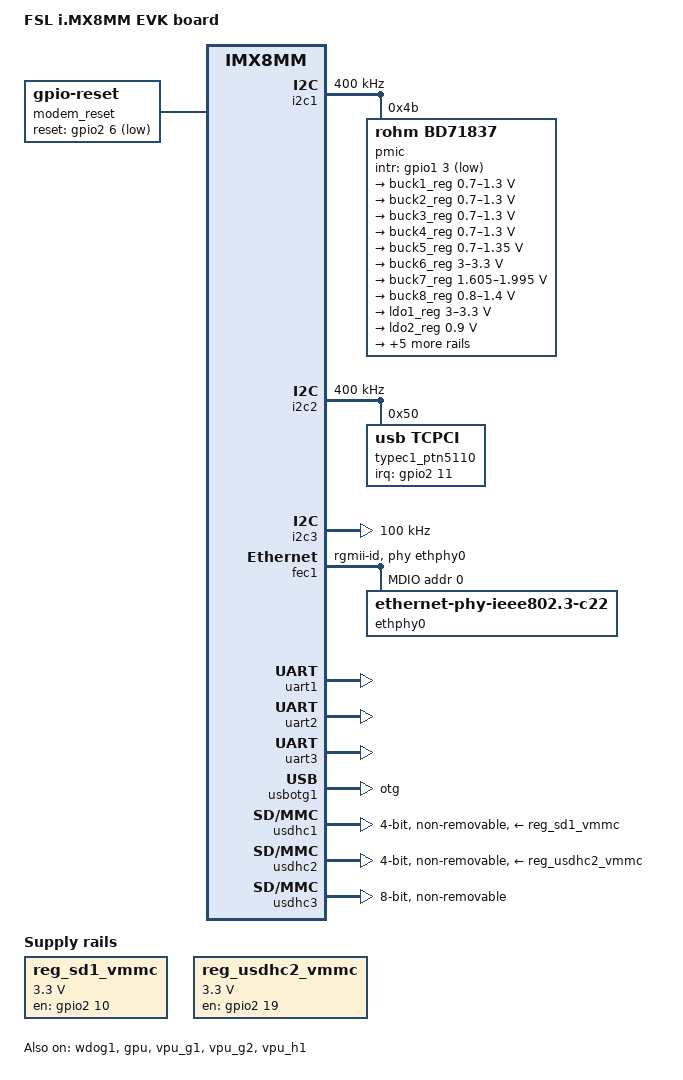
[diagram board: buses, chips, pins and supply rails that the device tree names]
/*
 * Copyright 2018 NXP
 *
 * This program is free software; you can redistribute it and/or
 * modify it under the terms of the GNU General Public License
 * as published by the Free Software Foundation; either version 2
 * of the License, or (at your option) any later version.
 *
 * This program is distributed in the hope that it will be useful,
 * but WITHOUT ANY WARRANTY; without even the implied warranty of
 * MERCHANTABILITY or FITNESS FOR A PARTICULAR PURPOSE.  See the
 * GNU General Public License for more details.
 */

/dts-v1/;

#include "fsl-imx8mm.dtsi"

/ {
	model = "FSL i.MX8MM EVK board";
	compatible = "fsl,imx8mm-evk", "fsl,imx8mm";

	chosen {
		bootargs = "console=ttymxc1,115200 earlycon=ec_imx6q,0x30890000,115200";
		stdout-patch = &uart2;
	};

	modem_reset: modem-reset {
		compatible = "gpio-reset";
		reset-gpios = <&gpio2 6 GPIO_ACTIVE_LOW>;
		reset-delay-us = <2000>;
		reset-post-delay-ms = <40>;
		#reset-cells = <0>;
	};

	regulators {
		compatible = "simple-bus";
		#address-cells = <1>;
		#size-cells = <0>;

		reg_sd1_vmmc: sd1_regulator {
			compatible = "regulator-fixed";
			regulator-name = "WLAN_EN";
			regulator-min-microvolt = <3300000>;
			regulator-max-microvolt = <3300000>;
			gpio = <&gpio2 10 GPIO_ACTIVE_HIGH>;
			off-on-delay = <20000>;
			startup-delay-us = <100>;
			enable-active-high;
		};

		reg_usdhc2_vmmc: regulator-usdhc2 {
			compatible = "regulator-fixed";
			regulator-name = "VSD_3V3";
			regulator-min-microvolt = <3300000>;
			regulator-max-microvolt = <3300000>;
			gpio = <&gpio2 19 GPIO_ACTIVE_HIGH>;
			enable-active-high;
		};
	};
};

&iomuxc {
	pinctrl-names = "default";

	imx8mm-evk {
		pinctrl_fec1: fec1grp {
			fsl,pins = <
				MX8MM_IOMUXC_ENET_MDC_ENET1_MDC		0x3
				MX8MM_IOMUXC_ENET_MDIO_ENET1_MDIO	0x3
				MX8MM_IOMUXC_ENET_TD3_ENET1_RGMII_TD3	0x1f
				MX8MM_IOMUXC_ENET_TD2_ENET1_RGMII_TD2	0x1f
				MX8MM_IOMUXC_ENET_TD1_ENET1_RGMII_TD1	0x1f
				MX8MM_IOMUXC_ENET_TD0_ENET1_RGMII_TD0	0x1f
				MX8MM_IOMUXC_ENET_RD3_ENET1_RGMII_RD3	0x91
				MX8MM_IOMUXC_ENET_RD2_ENET1_RGMII_RD2	0x91
				MX8MM_IOMUXC_ENET_RD1_ENET1_RGMII_RD1	0x91
				MX8MM_IOMUXC_ENET_RD0_ENET1_RGMII_RD0	0x91
				MX8MM_IOMUXC_ENET_TXC_ENET1_RGMII_TXC	0x1f
				MX8MM_IOMUXC_ENET_RXC_ENET1_RGMII_RXC	0x91
				MX8MM_IOMUXC_ENET_RX_CTL_ENET1_RGMII_RX_CTL	0x91
				MX8MM_IOMUXC_ENET_TX_CTL_ENET1_RGMII_TX_CTL	0x1f
				MX8MM_IOMUXC_SAI2_RXC_GPIO4_IO22	0x19
			>;
		};

		pinctrl_i2c1: i2c1grp {
			fsl,pins = <
				MX8MM_IOMUXC_I2C1_SCL_I2C1_SCL			0x400001c3
				MX8MM_IOMUXC_I2C1_SDA_I2C1_SDA			0x400001c3
			>;
		};

		pinctrl_i2c2: i2c2grp {
			fsl,pins = <
				MX8MM_IOMUXC_I2C2_SCL_I2C2_SCL			0x400001c3
				MX8MM_IOMUXC_I2C2_SDA_I2C2_SDA			0x400001c3
			>;
		};

		pinctrl_i2c3: i2c3grp {
			fsl,pins = <
				MX8MM_IOMUXC_I2C3_SCL_I2C3_SCL			0x400001c3
				MX8MM_IOMUXC_I2C3_SDA_I2C3_SDA			0x400001c3
			>;
		};

		pinctrl_pmic: pmicirq {
			fsl,pins = <
				MX8MM_IOMUXC_GPIO1_IO03_GPIO1_IO3		0x41
			>;
		};

		pinctrl_typec1: typec1grp {
			fsl,pins = <
				MX8MM_IOMUXC_SD1_STROBE_GPIO2_IO11	0x159
			>;
		};

		pinctrl_typec2: typec2grp {
			fsl,pins = <
				MX8MM_IOMUXC_SD2_CD_B_GPIO2_IO12	0x159
			>;
		};

		pinctrl_uart1: uart1grp {
			fsl,pins = <
				MX8MM_IOMUXC_UART1_RXD_UART1_DCE_RX	0x140
				MX8MM_IOMUXC_UART1_TXD_UART1_DCE_TX	0x140
				MX8MM_IOMUXC_UART3_RXD_UART1_DCE_CTS_B	0x140
				MX8MM_IOMUXC_UART3_TXD_UART1_DCE_RTS_B	0x140
				MX8MM_IOMUXC_SD1_DATA4_GPIO2_IO6	0x19
			>;
		};

		pinctrl_uart2: uart2grp {
			fsl,pins = <
				MX8MM_IOMUXC_UART2_RXD_UART2_DCE_RX	0x140
				MX8MM_IOMUXC_UART2_TXD_UART2_DCE_TX	0x140
			>;
		};

		pinctrl_uart3: uart3grp {
			fsl,pins = <
				MX8MM_IOMUXC_ECSPI1_SCLK_UART3_DCE_RX		0x140
				MX8MM_IOMUXC_ECSPI1_MOSI_UART3_DCE_TX		0x140
				MX8MM_IOMUXC_ECSPI1_SS0_UART3_DCE_RTS_B		0x140
				MX8MM_IOMUXC_ECSPI1_MISO_UART3_DCE_CTS_B	0x140
			>;
		};

		pinctrl_usdhc1_gpio: usdhc1grpgpio {
			fsl,pins = <
				MX8MM_IOMUXC_SD1_RESET_B_GPIO2_IO10	0x41
			>;
		};

		pinctrl_usdhc1: usdhc1grp {
			fsl,pins = <
				MX8MM_IOMUXC_SD1_CLK_USDHC1_CLK		0x190
				MX8MM_IOMUXC_SD1_CMD_USDHC1_CMD		0x1d0
				MX8MM_IOMUXC_SD1_DATA0_USDHC1_DATA0	0x1d0
				MX8MM_IOMUXC_SD1_DATA1_USDHC1_DATA1	0x1d0
				MX8MM_IOMUXC_SD1_DATA2_USDHC1_DATA2	0x1d0
				MX8MM_IOMUXC_SD1_DATA3_USDHC1_DATA3	0x1d0
			>;
		};

		pinctrl_usdhc1_100mhz: usdhc1grp100mhz {
			fsl,pins = <
				MX8MM_IOMUXC_SD1_CLK_USDHC1_CLK		0x194
				MX8MM_IOMUXC_SD1_CMD_USDHC1_CMD		0x1d4
				MX8MM_IOMUXC_SD1_DATA0_USDHC1_DATA0	0x1d4
				MX8MM_IOMUXC_SD1_DATA1_USDHC1_DATA1	0x1d4
				MX8MM_IOMUXC_SD1_DATA2_USDHC1_DATA2	0x1d4
				MX8MM_IOMUXC_SD1_DATA3_USDHC1_DATA3	0x1d4
			>;
		};

		pinctrl_usdhc1_200mhz: usdhc1grp200mhz {
			fsl,pins = <
				MX8MM_IOMUXC_SD1_CLK_USDHC1_CLK		0x196
				MX8MM_IOMUXC_SD1_CMD_USDHC1_CMD		0x1d6
				MX8MM_IOMUXC_SD1_DATA0_USDHC1_DATA0	0x1d6
				MX8MM_IOMUXC_SD1_DATA1_USDHC1_DATA1	0x1d6
				MX8MM_IOMUXC_SD1_DATA2_USDHC1_DATA2	0x1d6
				MX8MM_IOMUXC_SD1_DATA3_USDHC1_DATA3	0x1d6
			>;
		};

		pinctrl_usdhc2_gpio: usdhc2grpgpio {
			fsl,pins = <
				MX8MM_IOMUXC_SD2_RESET_B_GPIO2_IO19	0x41
			>;
		};

		pinctrl_usdhc2: usdhc2grp {
			fsl,pins = <
				MX8MM_IOMUXC_SD2_CLK_USDHC2_CLK		0x190
				MX8MM_IOMUXC_SD2_CMD_USDHC2_CMD		0x1d0
				MX8MM_IOMUXC_SD2_DATA0_USDHC2_DATA0	0x1d0
				MX8MM_IOMUXC_SD2_DATA1_USDHC2_DATA1	0x1d0
				MX8MM_IOMUXC_SD2_DATA2_USDHC2_DATA2	0x1d0
				MX8MM_IOMUXC_SD2_DATA3_USDHC2_DATA3	0x1d0
				MX8MM_IOMUXC_GPIO1_IO04_USDHC2_VSELECT	0x1d0
			>;
		};

		pinctrl_usdhc2_100mhz: usdhc2grp100mhz {
			fsl,pins = <
				MX8MM_IOMUXC_SD2_CLK_USDHC2_CLK		0x194
				MX8MM_IOMUXC_SD2_CMD_USDHC2_CMD		0x1d4
				MX8MM_IOMUXC_SD2_DATA0_USDHC2_DATA0	0x1d4
				MX8MM_IOMUXC_SD2_DATA1_USDHC2_DATA1	0x1d4
				MX8MM_IOMUXC_SD2_DATA2_USDHC2_DATA2	0x1d4
				MX8MM_IOMUXC_SD2_DATA3_USDHC2_DATA3	0x1d4
				MX8MM_IOMUXC_GPIO1_IO04_USDHC2_VSELECT	0x1d0
			>;
		};

		pinctrl_usdhc2_200mhz: usdhc2grp200mhz {
			fsl,pins = <
				MX8MM_IOMUXC_SD2_CLK_USDHC2_CLK		0x196
				MX8MM_IOMUXC_SD2_CMD_USDHC2_CMD		0x1d6
				MX8MM_IOMUXC_SD2_DATA0_USDHC2_DATA0	0x1d6
				MX8MM_IOMUXC_SD2_DATA1_USDHC2_DATA1	0x1d6
				MX8MM_IOMUXC_SD2_DATA2_USDHC2_DATA2	0x1d6
				MX8MM_IOMUXC_SD2_DATA3_USDHC2_DATA3	0x1d6
				MX8MM_IOMUXC_GPIO1_IO04_USDHC2_VSELECT	0x1d0
			>;
		};

		pinctrl_usdhc3: usdhc3grp {
			fsl,pins = <
				MX8MM_IOMUXC_NAND_WE_B_USDHC3_CLK		0x190
				MX8MM_IOMUXC_NAND_WP_B_USDHC3_CMD		0x1d0
				MX8MM_IOMUXC_NAND_DATA04_USDHC3_DATA0		0x1d0
				MX8MM_IOMUXC_NAND_DATA05_USDHC3_DATA1		0x1d0
				MX8MM_IOMUXC_NAND_DATA06_USDHC3_DATA2		0x1d0
				MX8MM_IOMUXC_NAND_DATA07_USDHC3_DATA3		0x1d0
				MX8MM_IOMUXC_NAND_RE_B_USDHC3_DATA4		0x1d0
				MX8MM_IOMUXC_NAND_CE2_B_USDHC3_DATA5		0x1d0
				MX8MM_IOMUXC_NAND_CE3_B_USDHC3_DATA6		0x1d0
				MX8MM_IOMUXC_NAND_CLE_USDHC3_DATA7		0x1d0
				MX8MM_IOMUXC_NAND_CE1_B_USDHC3_STROBE 		0x190
			>;
		};

		pinctrl_usdhc3_100mhz: usdhc3grp100mhz {
			fsl,pins = <
				MX8MM_IOMUXC_NAND_WE_B_USDHC3_CLK		0x194
				MX8MM_IOMUXC_NAND_WP_B_USDHC3_CMD		0x1d4
				MX8MM_IOMUXC_NAND_DATA04_USDHC3_DATA0		0x1d4
				MX8MM_IOMUXC_NAND_DATA05_USDHC3_DATA1		0x1d4
				MX8MM_IOMUXC_NAND_DATA06_USDHC3_DATA2		0x1d4
				MX8MM_IOMUXC_NAND_DATA07_USDHC3_DATA3		0x1d4
				MX8MM_IOMUXC_NAND_RE_B_USDHC3_DATA4		0x1d4
				MX8MM_IOMUXC_NAND_CE2_B_USDHC3_DATA5		0x1d4
				MX8MM_IOMUXC_NAND_CE3_B_USDHC3_DATA6		0x1d4
				MX8MM_IOMUXC_NAND_CLE_USDHC3_DATA7		0x1d4
				MX8MM_IOMUXC_NAND_CE1_B_USDHC3_STROBE 		0x194
			>;
		};

		pinctrl_usdhc3_200mhz: usdhc3grp200mhz {
			fsl,pins = <
				MX8MM_IOMUXC_NAND_WE_B_USDHC3_CLK		0x196
				MX8MM_IOMUXC_NAND_WP_B_USDHC3_CMD		0x1d6
				MX8MM_IOMUXC_NAND_DATA04_USDHC3_DATA0		0x1d6
				MX8MM_IOMUXC_NAND_DATA05_USDHC3_DATA1		0x1d6
				MX8MM_IOMUXC_NAND_DATA06_USDHC3_DATA2		0x1d6
				MX8MM_IOMUXC_NAND_DATA07_USDHC3_DATA3		0x1d6
				MX8MM_IOMUXC_NAND_RE_B_USDHC3_DATA4		0x1d6
				MX8MM_IOMUXC_NAND_CE2_B_USDHC3_DATA5		0x1d6
				MX8MM_IOMUXC_NAND_CE3_B_USDHC3_DATA6		0x1d6
				MX8MM_IOMUXC_NAND_CLE_USDHC3_DATA7		0x1d6
				MX8MM_IOMUXC_NAND_CE1_B_USDHC3_STROBE 		0x196
			>;
		};

		pinctrl_wdog: wdoggrp {
			fsl,pins = <
				MX8MM_IOMUXC_GPIO1_IO02_WDOG1_WDOG_B		0xc6
			>;
		};
	};
};

&i2c1 {
	clock-frequency = <400000>;
	pinctrl-names = "default";
	pinctrl-0 = <&pinctrl_i2c1>;
	status = "okay";

	pmic: bd71837@4b {
		reg = <0x4b>;
		compatible = "rohm,bd71837";
		/* PMIC BD71837 PMIC_nINT GPIO1_IO3 */
		pinctrl-0 = <&pinctrl_pmic>;
		gpio_intr = <&gpio1 3 GPIO_ACTIVE_LOW>;

		gpo {
			rohm,drv = <0x0C>;	/* 0b0000_1100 all gpos with cmos output mode */
		};

		regulators {
			#address-cells = <1>;
			#size-cells = <0>;

			bd71837,pmic-buck2-uses-i2c-dvs;
			bd71837,pmic-buck2-dvs-voltage = <1000000>, <900000>, <0>; /* VDD_ARM: Run-Idle */

			buck1_reg: regulator@0 {
				reg = <0>;
				regulator-compatible = "buck1";
				regulator-min-microvolt = <700000>;
				regulator-max-microvolt = <1300000>;
				regulator-boot-on;
				regulator-always-on;
				regulator-ramp-delay = <1250>;
			};

			buck2_reg: regulator@1 {
				reg = <1>;
				regulator-compatible = "buck2";
				regulator-min-microvolt = <700000>;
				regulator-max-microvolt = <1300000>;
				regulator-boot-on;
				regulator-always-on;
				regulator-ramp-delay = <1250>;
			};

			buck3_reg: regulator@2 {
				reg = <2>;
				regulator-compatible = "buck3";
				regulator-min-microvolt = <700000>;
				regulator-max-microvolt = <1300000>;
			};

			buck4_reg: regulator@3 {
				reg = <3>;
				regulator-compatible = "buck4";
				regulator-min-microvolt = <700000>;
				regulator-max-microvolt = <1300000>;
			};

			buck5_reg: regulator@4 {
				reg = <4>;
				regulator-compatible = "buck5";
				regulator-min-microvolt = <700000>;
				regulator-max-microvolt = <1350000>;
				regulator-boot-on;
				regulator-always-on;
			};

			buck6_reg: regulator@5 {
				reg = <5>;
				regulator-compatible = "buck6";
				regulator-min-microvolt = <3000000>;
				regulator-max-microvolt = <3300000>;
				regulator-boot-on;
				regulator-always-on;
			};

			buck7_reg: regulator@6 {
				reg = <6>;
				regulator-compatible = "buck7";
				regulator-min-microvolt = <1605000>;
				regulator-max-microvolt = <1995000>;
				regulator-boot-on;
				regulator-always-on;
			};

			buck8_reg: regulator@7 {
				reg = <7>;
				regulator-compatible = "buck8";
				regulator-min-microvolt = <800000>;
				regulator-max-microvolt = <1400000>;
				regulator-boot-on;
				regulator-always-on;
			};

			ldo1_reg: regulator@8 {
				reg = <8>;
				regulator-compatible = "ldo1";
				regulator-min-microvolt = <3000000>;
				regulator-max-microvolt = <3300000>;
				regulator-boot-on;
				regulator-always-on;
			};

			ldo2_reg: regulator@9 {
				reg = <9>;
				regulator-compatible = "ldo2";
				regulator-min-microvolt = <900000>;
				regulator-max-microvolt = <900000>;
				regulator-boot-on;
				regulator-always-on;
			};

			ldo3_reg: regulator@10 {
				reg = <10>;
				regulator-compatible = "ldo3";
				regulator-min-microvolt = <1800000>;
				regulator-max-microvolt = <3300000>;
				regulator-boot-on;
				regulator-always-on;
			};

			ldo4_reg: regulator@11 {
				reg = <11>;
				regulator-compatible = "ldo4";
				regulator-min-microvolt = <900000>;
				regulator-max-microvolt = <1800000>;
				regulator-boot-on;
				regulator-always-on;
			};

			ldo5_reg: regulator@12 {
				reg = <12>;
				regulator-compatible = "ldo5";
				regulator-min-microvolt = <1800000>;
				regulator-max-microvolt = <3300000>;
			};

			ldo6_reg: regulator@13 {
				reg = <13>;
				regulator-compatible = "ldo6";
				regulator-min-microvolt = <900000>;
				regulator-max-microvolt = <1800000>;
				regulator-boot-on;
				regulator-always-on;
			};

			ldo7_reg: regulator@14 {
				reg = <14>;
				regulator-compatible = "ldo7";
				regulator-min-microvolt = <1800000>;
				regulator-max-microvolt = <3300000>;
			};
		};
	};
};

&i2c2 {
	clock-frequency = <400000>;
	pinctrl-names = "default";
	pinctrl-0 = <&pinctrl_i2c2>;
	status = "okay";

	typec1_ptn5110: tcpci@50 {
		compatible = "usb,tcpci";
		pinctrl-names = "default";
		pinctrl-0 = <&pinctrl_typec1>;
		reg = <0x50>;
		interrupt-parent = <&gpio2>;
		interrupts = <11 8>;
		src-pdos = <0x380190c8>;
		snk-pdos = <0x380190c8>;
		/* Only can sink 5V for safe */
		max-snk-mv = <5000>;
		max-snk-ma = <3000>;
		op-snk-mw = <10000>;
		max-snk-mw = <15000>;
		port-type = "drp";
		default-role = "sink";
		status = "okay";
	};

	typec2_ptn5110: tcpci@52 {
		compatible = "usb,tcpci";
		pinctrl-names = "default";
		pinctrl-0 = <&pinctrl_typec2>;
		reg = <0x52>;
		interrupt-parent = <&gpio2>;
		interrupts = <12 8>;
		src-pdos = <0x380190c8>;
		snk-pdos = <0x380190c8>;
		/* Only can sink 5V for safe */
		max-snk-mv = <5000>;
		max-snk-ma = <3000>;
		op-snk-mw = <10000>;
		max-snk-mw = <15000>;
		port-type = "drp";
		default-role = "sink";
		status = "disabled";
	};
};

&i2c3 {
	clock-frequency = <100000>;
	pinctrl-names = "default";
	pinctrl-0 = <&pinctrl_i2c3>;
	status = "okay";
};

&fec1 {
	pinctrl-names = "default";
	pinctrl-0 = <&pinctrl_fec1>;
	phy-mode = "rgmii-id";
	phy-handle = <&ethphy0>;
	fsl,magic-packet;
	status = "okay";

	mdio {
		#address-cells = <1>;
		#size-cells = <0>;

		ethphy0: ethernet-phy@0 {
			compatible = "ethernet-phy-ieee802.3-c22";
			reg = <0>;
			at803x,led-act-blind-workaround;
			at803x,eee-okay;
			at803x,vddio-1p8v;
		};
	};
};

&uart1 { /* BT */
	pinctrl-names = "default";
	pinctrl-0 = <&pinctrl_uart1>;
	assigned-clocks = <&clk IMX8MM_CLK_UART1_SRC>;
	assigned-clock-parents = <&clk IMX8MM_SYS_PLL1_80M>;
	fsl,uart-has-rtscts;
	resets = <&modem_reset>;
	status = "okay";
};

&uart2 { /* console */
	pinctrl-names = "default";
	pinctrl-0 = <&pinctrl_uart2>;
	status = "okay";
};

&uart3 {
	pinctrl-names = "default";
	pinctrl-0 = <&pinctrl_uart3>;
	assigned-clocks = <&clk IMX8MM_CLK_UART3_SRC>;
	assigned-clock-parents = <&clk IMX8MM_SYS_PLL1_80M>;
	fsl,uart-has-rtscts;
	status = "okay";
};

&usbotg1 {
	dr_mode = "otg";
	extcon = <0>, <&typec1_ptn5110>;
	status = "okay";
};

&usbotg2 {
	dr_mode = "otg";
	extcon = <0>, <&typec2_ptn5110>;
	status = "disabled";
};

&usdhc1 {
	pinctrl-names = "default", "state_100mhz", "state_200mhz";
	pinctrl-0 = <&pinctrl_usdhc1>, <&pinctrl_usdhc1_gpio>;
	pinctrl-1 = <&pinctrl_usdhc1_100mhz>, <&pinctrl_usdhc1_gpio>;
	pinctrl-2 = <&pinctrl_usdhc1_200mhz>, <&pinctrl_usdhc1_gpio>;
	bus-width = <4>;
	vmmc-supply = <&reg_sd1_vmmc>;
	pm-ignore-notify;
	keep-power-in-suspend;
	non-removable;
	status = "okay";
};

&usdhc2 {
	pinctrl-names = "default", "state_100mhz", "state_200mhz";
	pinctrl-0 = <&pinctrl_usdhc2>, <&pinctrl_usdhc2_gpio>;
	pinctrl-1 = <&pinctrl_usdhc2_100mhz>, <&pinctrl_usdhc2_gpio>;
	pinctrl-2 = <&pinctrl_usdhc2_200mhz>, <&pinctrl_usdhc2_gpio>;
	bus-width = <4>;
	non-removable;
	vmmc-supply = <&reg_usdhc2_vmmc>;
	status = "okay";
};

&usdhc3 {
	pinctrl-names = "default", "state_100mhz", "state_200mhz";
	pinctrl-0 = <&pinctrl_usdhc3>;
	pinctrl-1 = <&pinctrl_usdhc3_100mhz>;
	pinctrl-2 = <&pinctrl_usdhc3_200mhz>;
	bus-width = <8>;
	non-removable;
	status = "okay";
};

&wdog1 {
	pinctrl-names = "default";
	pinctrl-0 = <&pinctrl_wdog>;
	fsl,ext-reset-output;
	status = "okay";
};

&A53_0 {
	arm-supply = <&buck2_reg>;
};

&gpu {
	status = "okay";
};

&vpu_g1 {
	status = "okay";
};

&vpu_g2 {
	status = "okay";
};

&vpu_h1 {
	status = "okay";
};
